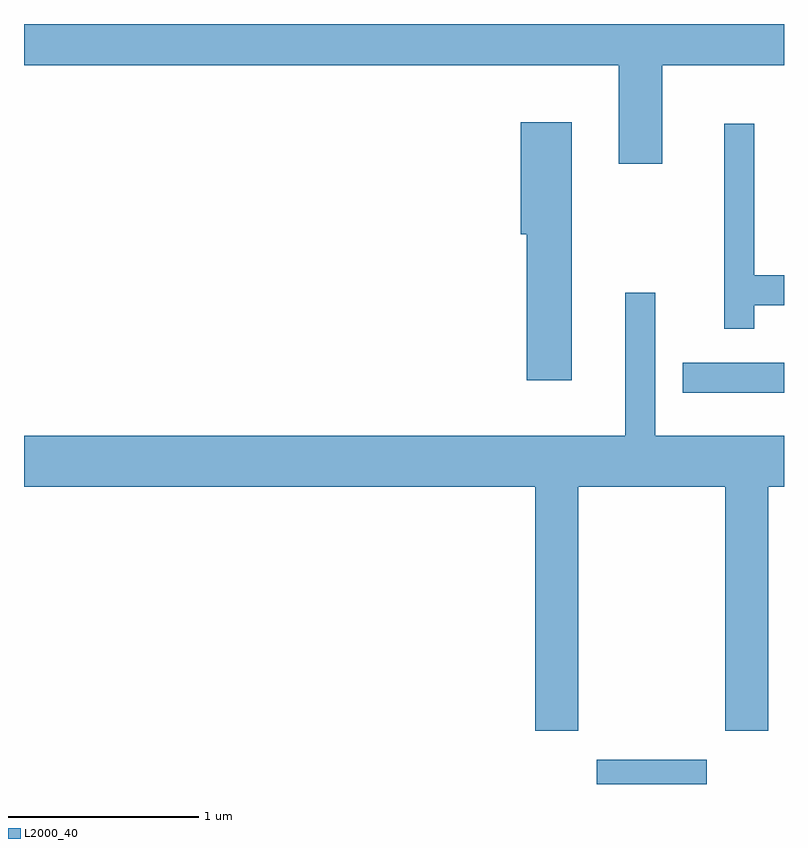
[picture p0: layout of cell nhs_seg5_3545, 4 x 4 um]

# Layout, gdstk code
import gdstk
lib = gdstk.Library(unit=1e-6, precision=1e-09)
def R(c, l, rs):  # rectangles x0, y0, x1, y1
    for r in rs: c.add(gdstk.rectangle(r[:2], r[2:], *l))
def P(c, l, *ps):  # polygons
    for p in ps: c.add(gdstk.Polygon(p, *l))
L2000_40 = (2000, 40)

nhs_seg5_3545 = lib.new_cell('nhs_seg5_3545')
R(nhs_seg5_3545, L2000_40, [(292.626,1504.072,293.204,1504.199), (293.078,1506.131,293.611,1506.289)])
P(nhs_seg5_3545, L2000_40, [(292.969,1507.856),(293.611,1507.856),(293.611,1508.072),(289.611,1508.072),(289.611,1507.856),(292.741,1507.856),(292.741,1507.336),(292.969,1507.336)],
  [(292.494,1507.554),(292.226,1507.554),(292.226,1506.966),(292.256,1506.966),(292.256,1506.196),(292.494,1506.196)],
  [(293.454,1506.591),(293.611,1506.591),(293.611,1506.749),(293.454,1506.749),(293.454,1507.548),(293.296,1507.548),(293.296,1506.468),(293.454,1506.468)],
  [(292.529,1505.636),(293.301,1505.636),(293.301,1504.351),(293.529,1504.351),(293.529,1505.636),(293.611,1505.636),(293.611,1505.904),(292.934,1505.904),(292.934,1506.658),(292.776,1506.658),(292.776,1505.904),(289.611,1505.904),(289.611,1505.636),(292.301,1505.636),(292.301,1504.351),(292.529,1504.351)])

lib.write_gds('nhs_seg5_3545.gds')
